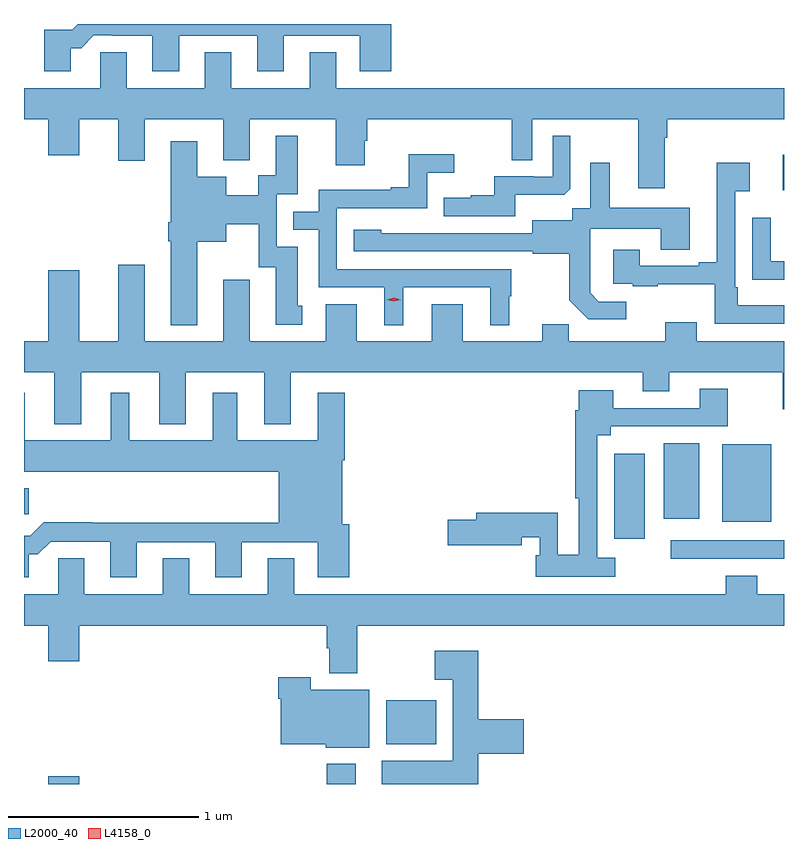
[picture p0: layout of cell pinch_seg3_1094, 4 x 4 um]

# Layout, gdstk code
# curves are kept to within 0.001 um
import gdstk
lib = gdstk.Library(unit=1e-6, precision=1e-09)
def R(c, l, rs):  # rectangles x0, y0, x1, y1
    for r in rs: c.add(gdstk.rectangle(r[:2], r[2:], *l))
def P(c, l, *ps):  # polygons
    for p in ps: c.add(gdstk.Polygon(p, *l))
L2000_40 = (2000, 40)
L4158_0 = (4158, 0)

pinch_seg3_1094 = lib.new_cell('pinch_seg3_1094')
R(pinch_seg3_1094, L2000_40, [(356.816,688.094,356.98,688.135), (358.283,688.094,358.435,688.201), (358.595,688.304,358.858,688.534), (360.093,689.28,360.689,689.376), (359.795,689.385,359.956,689.833), (360.365,689.474,360.622,689.881), (360.056,689.489,360.244,689.887), (356.689,689.515,356.713,689.65), (360.683,691.218,360.689,691.406)])
P(pinch_seg3_1094, L2000_40, [(356.935,691.967),(356.99,691.967),(357.057,692.034),(357.151,692.034),(357.151,692.031),(357.365,692.031),(357.365,691.845),(357.505,691.845),(357.505,692.031),(357.917,692.031),(357.917,691.845),(358.057,691.845),(358.057,692.031),(358.457,692.031),(358.457,691.845),(358.622,691.845),(358.622,692.094),(356.973,692.094),(356.944,692.065),(356.795,692.065),(356.795,691.845),(356.935,691.845)],
  [(360.061,691.496),(360.074,691.496),(360.074,691.592),(360.689,691.592),(360.689,691.756),(358.333,691.756),(358.333,691.946),(358.193,691.946),(358.193,691.756),(357.781,691.756),(357.781,691.946),(357.641,691.946),(357.641,691.756),(357.229,691.756),(357.229,691.946),(357.09,691.946),(357.09,691.756),(356.689,691.756),(356.689,691.592),(356.816,691.592),(356.816,691.404),(356.98,691.404),(356.98,691.592),(357.185,691.592),(357.185,691.374),(357.325,691.374),(357.325,691.592),(357.737,691.592),(357.737,691.376),(357.877,691.376),(357.877,691.592),(358.331,691.592),(358.331,691.35),(358.483,691.35),(358.483,691.479),(358.496,691.479),(358.496,691.592),(359.256,691.592),(359.256,691.378),(359.364,691.378),(359.364,691.592),(359.921,691.592),(359.921,691.23),(360.061,691.23)],
  [(357.601,690.947),(357.754,690.947),(357.754,691.04),(357.924,691.04),(357.924,690.813),(358.013,690.813),(358.013,690.51),(358.153,690.51),(358.153,690.612),(358.129,690.612),(358.129,690.921),(358.02,690.921),(358.02,691.197),(358.129,691.197),(358.129,691.507),(358.013,691.507),(358.013,691.298),(357.923,691.298),(357.923,691.192),(357.754,691.192),(357.754,691.291),(357.601,691.291),(357.601,691.477),(357.461,691.477),(357.461,691.051),(357.449,691.051),(357.449,690.951),(357.461,690.951),(357.461,690.509),(357.601,690.509)],
  [(359.275,691.196),(359.533,691.196),(359.565,691.227),(359.565,691.507),(359.472,691.507),(359.472,691.29),(359.372,691.29),(359.372,691.293),(359.165,691.293),(359.165,691.192),(359.041,691.192),(359.041,691.18),(358.897,691.18),(358.897,691.083),(359.275,691.083)],
  [(358.684,690.708),(359.144,690.708),(359.144,690.509),(359.242,690.509),(359.242,690.66),(359.254,690.66),(359.254,690.804),(358.335,690.804),(358.335,691.125),(358.812,691.125),(358.812,691.31),(358.954,691.31),(358.954,691.409),(358.714,691.409),(358.714,691.234),(358.619,691.234),(358.619,691.221),(358.239,691.221),(358.239,691.107),(358.105,691.107),(358.105,691.011),(358.239,691.011),(358.239,690.708),(358.586,690.708),(358.586,690.509),(358.684,690.509)],
  [(360.689,690.613),(360.445,690.613),(360.445,690.709),(360.432,690.709),(360.432,691.214),(360.508,691.214),(360.508,691.363),(360.335,691.363),(360.335,690.841),(360.239,690.841),(360.239,690.822),(359.929,690.822),(359.929,690.907),(359.789,690.907),(359.789,690.726),(359.893,690.726),(359.893,690.714),(360.025,690.714),(360.025,690.725),(360.324,690.725),(360.324,690.516),(360.689,690.516)],
  [(359.86,690.633),(359.715,690.633),(359.668,690.68),(359.668,690.775),(359.67,690.775),(359.67,691.016),(360.041,691.016),(360.041,690.907),(360.193,690.907),(360.193,691.126),(359.773,691.126),(359.773,691.363),(359.669,691.363),(359.669,691.124),(359.574,691.124),(359.574,691.06),(359.363,691.06),(359.363,690.993),(358.569,690.994),(358.569,691.012),(358.425,691.012),(358.425,690.897),(359.367,690.897),(359.367,690.885),(359.559,690.885),(359.559,690.639),(359.659,690.539),(359.86,690.539)],
  [(360.689,690.846),(360.618,690.846),(360.618,691.075),(360.522,691.075),(360.522,690.749),(360.689,690.749)],
  [(356.989,690.26),(357.401,690.26),(357.401,689.987),(357.541,689.987),(357.541,690.26),(357.953,690.26),(357.953,689.987),(358.093,689.987),(358.093,690.26),(359.945,690.26),(359.945,690.161),(360.085,690.161),(360.085,690.26),(360.682,690.26),(360.682,690.066),(360.689,690.066),(360.689,690.424),(360.229,690.424),(360.229,690.523),(360.065,690.523),(360.065,690.424),(359.555,690.424),(359.555,690.515),(359.417,690.515),(359.417,690.424),(358.999,690.424),(358.999,690.619),(358.835,690.619),(358.835,690.424),(358.441,690.424),(358.441,690.619),(358.277,690.619),(358.277,690.424),(357.877,690.424),(357.877,690.748),(357.737,690.748),(357.737,690.424),(357.325,690.424),(357.325,690.826),(357.185,690.826),(357.185,690.424),(356.98,690.424),(356.98,690.799),(356.816,690.799),(356.816,690.424),(356.689,690.424),(356.689,690.26),(356.849,690.26),(356.849,689.987),(356.989,689.987)],
  [(359.8,689.284),(359.706,689.284),(359.706,689.93),(359.776,689.93),(359.776,689.976),(360.393,689.976),(360.393,690.175),(360.245,690.175),(360.245,690.072),(359.791,690.072),(359.791,690.166),(359.609,690.166),(359.609,690.062),(359.59,690.062),(359.59,689.599),(359.61,689.599),(359.61,689.3),(359.499,689.3),(359.499,689.522),(359.069,689.522),(359.069,689.486),(358.92,689.486),(358.92,689.351),(359.308,689.351),(359.308,689.394),(359.403,689.394),(359.403,689.298),(359.383,689.298),(359.383,689.184),(359.8,689.184)],
  [(356.713,689.303),(356.762,689.303),(356.829,689.37),(357.143,689.37),(357.143,689.181),(357.283,689.181),(357.283,689.367),(357.695,689.367),(357.695,689.181),(357.835,689.181),(357.835,689.367),(358.235,689.367),(358.235,689.181),(358.4,689.181),(358.4,689.46),(358.363,689.46),(358.363,689.798),(358.376,689.798),(358.376,690.154),(358.235,690.154),(358.235,689.902),(357.811,689.902),(357.811,690.154),(357.683,690.154),(357.683,689.902),(357.244,689.902),(357.244,690.154),(357.146,690.154),(357.146,689.902),(356.692,689.902),(356.692,690.154),(356.689,690.154),(356.689,689.738),(358.031,689.738),(358.031,689.468),(357.047,689.468),(357.047,689.471),(356.792,689.471),(356.722,689.401),(356.689,689.401),(356.689,689.181),(356.713,689.181)],
  [(358.443,688.928),(360.689,688.928),(360.689,689.092),(360.548,689.092),(360.548,689.191),(360.383,689.191),(360.383,689.092),(358.111,689.092),(358.111,689.282),(357.971,689.282),(357.971,689.092),(357.559,689.092),(357.559,689.282),(357.419,689.282),(357.419,689.092),(357.007,689.092),(357.007,689.282),(356.868,689.282),(356.868,689.092),(356.689,689.092),(356.689,688.928),(356.816,688.928),(356.816,688.74),(356.98,688.74),(356.98,688.928),(358.283,688.928),(358.283,688.808),(358.295,688.808),(358.295,688.676),(358.443,688.676)],
  [(359.081,688.253),(359.32,688.253),(359.32,688.436),(359.081,688.436),(359.081,688.795),(358.851,688.795),(358.851,688.643),(358.946,688.643),(358.946,688.216),(358.571,688.216),(358.571,688.094),(359.081,688.094)],
  [(358.507,688.591),(358.198,688.591),(358.198,688.657),(358.028,688.657),(358.028,688.544),(358.04,688.544),(358.04,688.304),(358.278,688.304),(358.278,688.286),(358.507,688.286)])
P(pinch_seg3_1094, L4158_0, [(358.635,690.634),(358.599,690.644),(358.599,690.644),(358.599,690.644),(358.635,690.654),(358.671,690.644),(358.671,690.644),(358.671,690.644)])

lib.write_gds('pinch_seg3_1094.gds')
